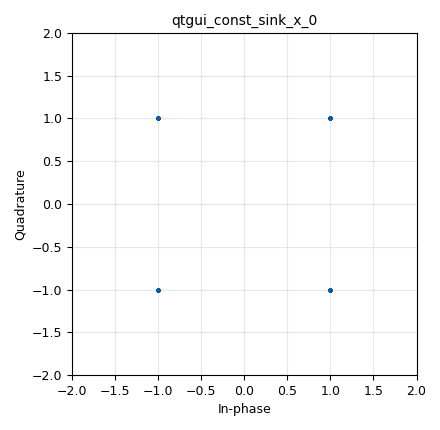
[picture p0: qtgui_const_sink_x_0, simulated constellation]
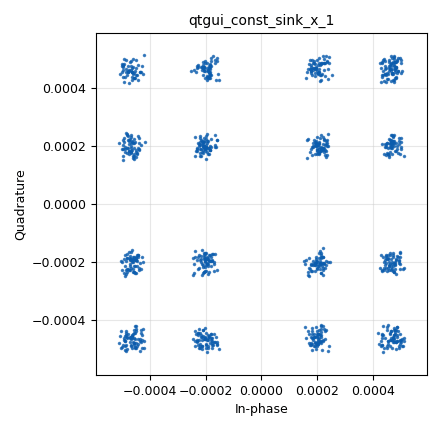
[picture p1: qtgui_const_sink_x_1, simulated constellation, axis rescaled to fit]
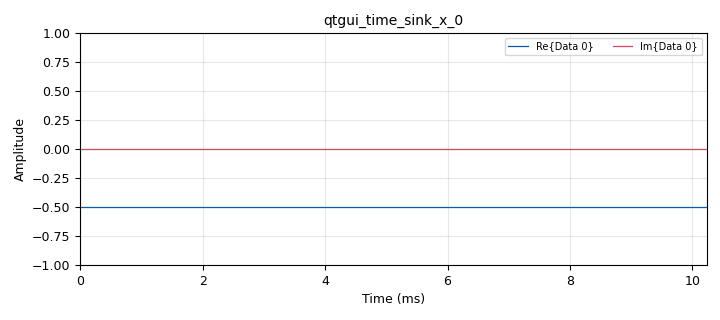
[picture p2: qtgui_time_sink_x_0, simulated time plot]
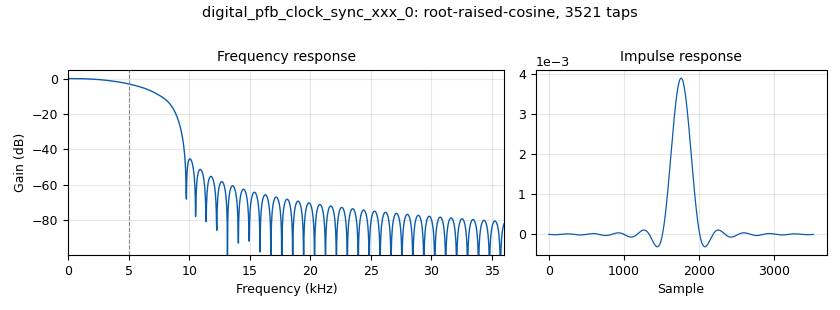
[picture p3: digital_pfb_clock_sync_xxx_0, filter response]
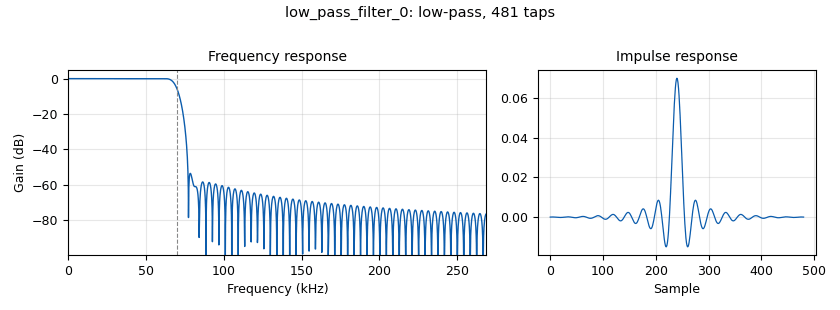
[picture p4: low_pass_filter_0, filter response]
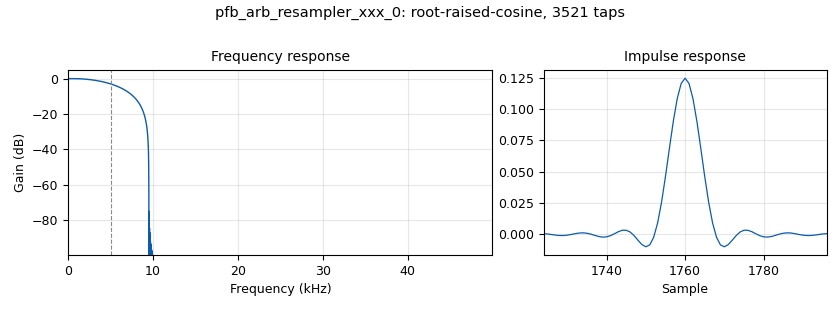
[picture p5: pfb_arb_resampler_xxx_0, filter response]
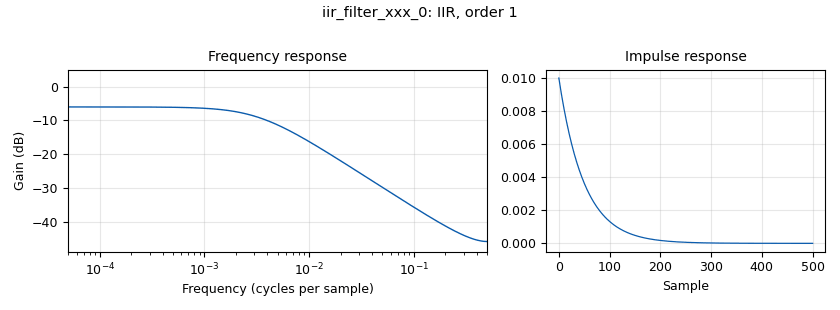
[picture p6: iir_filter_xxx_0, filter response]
options:
  parameters:
    author: aditya
    generate_options: qt_gui
    id: default
    output_language: python
    title: Not titled yet
  states: {}

blocks:
- name: b0
  id: variable_qtgui_range
  parameters:
    start: '-1'
    step: '0.0001'
    stop: '1'
    value: '-0.5'
  states: {}
- name: b1
  id: variable_qtgui_range
  parameters:
    start: '-1'
    step: '0.0001'
    stop: '1'
    value: '0.25'
  states: {}
- name: b2
  id: variable_qtgui_range
  parameters:
    start: '-1'
    step: '0.0001'
    stop: '1'
    value: '-0.125'
  states: {}
- name: b3
  id: variable_qtgui_range
  parameters:
    start: '-1'
    step: '0.0001'
    stop: '1'
    value: '0.0625'
  states: {}
- name: noise_amp
  id: variable_qtgui_range
  parameters:
    start: '0'
    step: '0.001'
    stop: '1'
    value: '0.0'
  states: {}
- name: quad_rate
  id: variable
  parameters:
    value: '2000000'
  states: {}
- name: sps
  id: variable
  parameters:
    value: '10'
  states: {}
- name: symb_rate
  id: variable
  parameters:
    value: '10000'
  states: {}
- name: analog_noise_source_x_0
  id: analog_noise_source_x
  parameters:
    amp: noise_amp
    noise_type: analog.GR_GAUSSIAN
    seed: '0'
    type: float
  states: {}
- name: analog_random_source_x_0
  id: analog_random_source_x
  parameters:
    max: '4'
    min: '0'
    num_samps: '1000'
    repeat: 'True'
    type: byte
  states: {}
- name: analog_sig_source_x_1
  id: analog_sig_source_x
  parameters:
    amp: '1'
    freq: '100000'
    offset: '0'
    phase: '0'
    samp_rate: quad_rate
    type: float
    waveform: analog.GR_COS_WAVE
  states: {}
- name: analog_sig_source_x_1_0
  id: analog_sig_source_x
  parameters:
    amp: '-1'
    freq: '100000'
    offset: '0'
    phase: '0'
    samp_rate: quad_rate
    type: float
    waveform: analog.GR_SIN_WAVE
  states: {}
- name: analog_sig_source_x_2
  id: analog_sig_source_x
  parameters:
    amp: '1'
    freq: '100000'
    offset: '0'
    phase: '0'
    samp_rate: quad_rate
    type: complex
    waveform: analog.GR_COS_WAVE
  states: {}
- name: blocks_add_const_vxx_0
  id: blocks_add_const_vxx
  parameters:
    const: '-1'
    type: complex
  states: {}
- name: blocks_add_xx_0
  id: blocks_add_xx
  parameters:
    type: float
  states: {}
- name: blocks_add_xx_1
  id: blocks_add_xx
  parameters:
    num_inputs: '5'
    type: complex
  states: {}
- name: blocks_add_xx_2
  id: blocks_add_xx
  parameters:
    type: float
  states: {}
- name: blocks_complex_to_real_0
  id: blocks_complex_to_real
  parameters: {}
  states: {}
- name: blocks_conjugate_cc_0
  id: blocks_conjugate_cc
  parameters: {}
  states: {}
- name: blocks_delay_0
  id: blocks_delay
  parameters:
    delay: '200'
    type: float
  states: {}
- name: blocks_delay_1
  id: blocks_delay
  parameters:
    delay: '2'
    type: complex
  states: {}
- name: blocks_delay_1_0
  id: blocks_delay
  parameters:
    delay: '1'
    type: complex
  states: {}
- name: blocks_delay_1_0_0
  id: blocks_delay
  parameters:
    delay: '3'
    type: complex
  states: {}
- name: blocks_delay_1_0_0_0
  id: blocks_delay
  parameters:
    delay: '4'
    type: complex
  states: {}
- name: blocks_float_to_complex_0
  id: blocks_float_to_complex
  parameters: {}
  states: {}
- name: blocks_multiply_const_vxx_0
  id: blocks_multiply_const_vxx
  parameters:
    const: '0.5'
    type: float
  states: {}
- name: blocks_multiply_const_vxx_1
  id: blocks_multiply_const_vxx
  parameters:
    const: b0
    type: complex
  states: {}
- name: blocks_multiply_const_vxx_1_0
  id: blocks_multiply_const_vxx
  parameters:
    const: b1
    type: complex
  states: {}
- name: blocks_multiply_const_vxx_1_0_0
  id: blocks_multiply_const_vxx
  parameters:
    const: b2
    type: complex
  states: {}
- name: blocks_multiply_const_vxx_1_0_0_0
  id: blocks_multiply_const_vxx
  parameters:
    const: b3
    type: complex
  states: {}
- name: blocks_multiply_xx_0
  id: blocks_multiply_xx
  parameters:
    type: complex
  states: {}
- name: blocks_multiply_xx_1
  id: blocks_multiply_xx
  parameters:
    type: float
  states: {}
- name: blocks_multiply_xx_1_0
  id: blocks_multiply_xx
  parameters:
    type: float
  states: {}
- name: blocks_multiply_xx_2
  id: blocks_multiply_xx
  parameters:
    type: complex
  states: {}
- name: blocks_throttle_0
  id: blocks_throttle
  parameters:
    samples_per_second: quad_rate
    type: float
  states: {}
- name: digital_chunks_to_symbols_xx_0
  id: digital_chunks_to_symbols_xx
  parameters:
    dimension: '1'
    in_type: byte
    out_type: complex
    symbol_table: (1+1j,-1+1j,-1-1j,1-1j)
  states: {}
- name: digital_pfb_clock_sync_xxx_0
  id: digital_pfb_clock_sync_xxx
  parameters:
    filter_size: '32'
    init_phase: '16'
    loop_bw: 2*3.141/100
    max_dev: '1.5'
    osps: '1'
    sps: sps
    taps: firdes.root_raised_cosine(1,32*sps*symb_rate,symb_rate,0.90,11*sps*32)
    type: ccf
  states: {}
- name: iir_filter_xxx_0
  id: iir_filter_xxx
  parameters:
    fbtaps: '[1,0.98]'
    fftaps: '[0.01]'
    type: ccf
  states: {}
- name: low_pass_filter_0
  id: low_pass_filter
  parameters:
    cutoff_freq: '70000'
    gain: '1'
    interp: '1'
    samp_rate: quad_rate
    type: interp_fir_filter_fff
    width: '10000'
    win: window.WIN_HAMMING
  states: {}
- name: low_pass_filter_0_0
  id: low_pass_filter
  parameters:
    cutoff_freq: '70000'
    gain: '1'
    interp: '1'
    samp_rate: quad_rate
    type: interp_fir_filter_fff
    width: '10000'
    win: window.WIN_HAMMING
  states: {}
- name: pfb_arb_resampler_xxx_0
  id: pfb_arb_resampler_xxx
  parameters:
    atten: '100'
    nfilts: '32'
    rrate: sps
    taps: firdes.root_raised_cosine(1,sps*symb_rate,symb_rate,0.90,11*sps*32)
    type: ccf
  states: {}
- name: plot
  id: qtgui_tab_widget
  parameters:
    label0: Tab 0
    label1: Tab 1
    num_tabs: '2'
  states: {}
- name: qtgui_const_sink_x_0
  id: qtgui_const_sink_x
  parameters:
    gui_hint: plot@0
    size: '1024'
    type: complex
  states: {}
- name: qtgui_const_sink_x_1
  id: qtgui_const_sink_x
  parameters:
    gui_hint: plot@1
    size: '1024'
    type: complex
  states: {}
- name: qtgui_time_sink_x_0
  id: qtgui_time_sink_x
  parameters:
    size: '1024'
    srate: symb_rate*sps
    type: complex
  states: {}
- name: rational_resampler_xxx_0
  id: rational_resampler_xxx
  parameters:
    decim: symb_rate*sps
    interp: quad_rate
    type: ccc
  states: {}
- name: rational_resampler_xxx_1
  id: rational_resampler_xxx
  parameters:
    decim: quad_rate
    interp: symb_rate*sps
    type: ccc
  states: {}
- name: virtual_sink_0
  id: virtual_sink
  parameters:
    stream_id: mod_stream
  states: {}
- name: virtual_sink_1
  id: virtual_sink
  parameters:
    stream_id: demod_stream
  states: {}
- name: virtual_source_0
  id: virtual_source
  parameters:
    stream_id: mod_stream
  states: {}
- name: virtual_source_1
  id: virtual_source
  parameters:
    stream_id: demod_stream
  states: {}

connections:
- [analog_noise_source_x_0, '0', blocks_add_xx_2, '0']
- [analog_random_source_x_0, '0', digital_chunks_to_symbols_xx_0, '0']
- [analog_sig_source_x_1, '0', blocks_multiply_xx_1, '0']
- [analog_sig_source_x_1_0, '0', blocks_multiply_xx_1_0, '1']
- [analog_sig_source_x_2, '0', blocks_multiply_xx_0, '0']
- [blocks_add_const_vxx_0, '0', iir_filter_xxx_0, '0']
- [blocks_add_xx_0, '0', blocks_multiply_xx_1, '1']
- [blocks_add_xx_0, '0', blocks_multiply_xx_1_0, '0']
- [blocks_add_xx_1, '0', blocks_conjugate_cc_0, '0']
- [blocks_add_xx_1, '0', blocks_multiply_xx_2, '1']
- [blocks_add_xx_1, '0', qtgui_const_sink_x_1, '0']
- [blocks_add_xx_2, '0', blocks_throttle_0, '0']
- [blocks_complex_to_real_0, '0', blocks_add_xx_2, '1']
- [blocks_conjugate_cc_0, '0', blocks_multiply_xx_2, '0']
- [blocks_delay_0, '0', blocks_multiply_const_vxx_0, '0']
- [blocks_delay_1, '0', blocks_multiply_const_vxx_1_0, '0']
- [blocks_delay_1_0, '0', blocks_multiply_const_vxx_1, '0']
- [blocks_delay_1_0_0, '0', blocks_multiply_const_vxx_1_0_0, '0']
- [blocks_delay_1_0_0_0, '0', blocks_multiply_const_vxx_1_0_0_0, '0']
- [blocks_float_to_complex_0, '0', rational_resampler_xxx_1, '0']
- [blocks_multiply_const_vxx_0, '0', blocks_add_xx_0, '0']
- [blocks_multiply_const_vxx_1, '0', blocks_add_xx_1, '1']
- [blocks_multiply_const_vxx_1_0, '0', blocks_add_xx_1, '2']
- [blocks_multiply_const_vxx_1_0_0, '0', blocks_add_xx_1, '3']
- [blocks_multiply_const_vxx_1_0_0_0, '0', blocks_add_xx_1, '4']
- [blocks_multiply_xx_0, '0', blocks_complex_to_real_0, '0']
- [blocks_multiply_xx_1, '0', low_pass_filter_0, '0']
- [blocks_multiply_xx_1_0, '0', low_pass_filter_0_0, '0']
- [blocks_multiply_xx_2, '0', blocks_add_const_vxx_0, '0']
- [blocks_throttle_0, '0', virtual_sink_0, '0']
- [digital_chunks_to_symbols_xx_0, '0', pfb_arb_resampler_xxx_0, '0']
- [digital_chunks_to_symbols_xx_0, '0', qtgui_const_sink_x_0, '0']
- [digital_pfb_clock_sync_xxx_0, '0', blocks_add_xx_1, '0']
- [digital_pfb_clock_sync_xxx_0, '0', blocks_delay_1, '0']
- [digital_pfb_clock_sync_xxx_0, '0', blocks_delay_1_0, '0']
- [digital_pfb_clock_sync_xxx_0, '0', blocks_delay_1_0_0, '0']
- [digital_pfb_clock_sync_xxx_0, '0', blocks_delay_1_0_0_0, '0']
- [iir_filter_xxx_0, '0', qtgui_time_sink_x_0, '0']
- [low_pass_filter_0, '0', blocks_float_to_complex_0, '0']
- [low_pass_filter_0_0, '0', blocks_float_to_complex_0, '1']
- [pfb_arb_resampler_xxx_0, '0', rational_resampler_xxx_0, '0']
- [rational_resampler_xxx_0, '0', blocks_multiply_xx_0, '1']
- [rational_resampler_xxx_1, '0', virtual_sink_1, '0']
- [virtual_source_0, '0', blocks_add_xx_0, '1']
- [virtual_source_0, '0', blocks_delay_0, '0']
- [virtual_source_1, '0', digital_pfb_clock_sync_xxx_0, '0']

metadata:
  file_format: 1
  grc_version: 3.9.8.0-rc1
